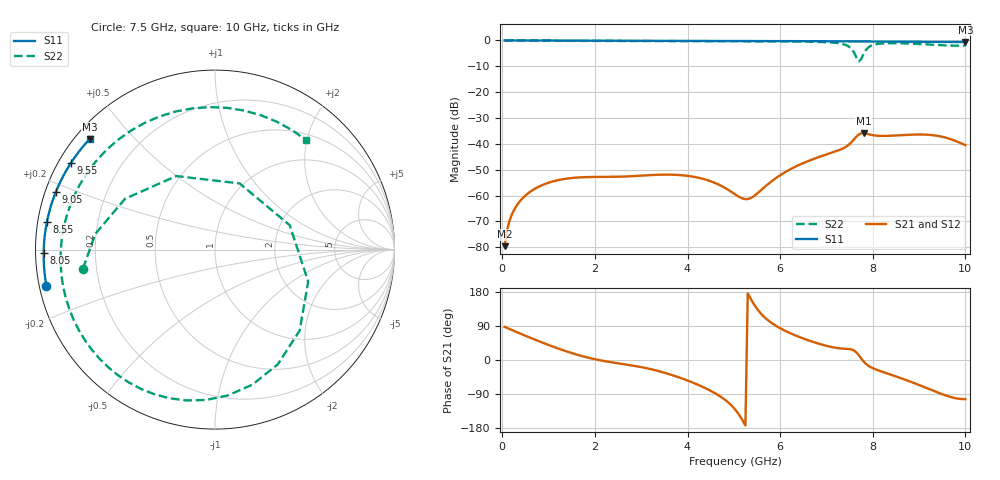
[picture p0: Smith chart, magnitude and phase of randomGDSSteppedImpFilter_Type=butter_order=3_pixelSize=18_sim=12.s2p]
! freq	dB(S11)	phase(S11)	dB(S12)	phase(S12)
!  dB(S21)	phase(S21)	dB(S22)	phase(S22)
!S-par simulation data
#  GHz  S  DB  R 50
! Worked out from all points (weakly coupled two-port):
!   200 points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, 50 MHz to 10 GHz, reference 50 ohm
!   highest |S21| = -35.86 dB at 7.8 GHz (marker M1); lowest = -79.6 dB at 50 MHz (marker M2)
!   lowest |S11| = -0.6 dB at 10 GHz (marker M3), VSWR 27.97, Z = 2.04 + j18.8 ohm
!   |S11| at or under -10 dB: nowhere
!   |S22| runs from -8.1 to 0.0 dB; largest |S21 - S12| = 0
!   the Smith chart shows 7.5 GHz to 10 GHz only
!   S11 on the Smith chart (normalised r, x): 7.5 GHz: 0.02, -0.11; 8.05 GHz: 0.02, -0.01; 8.55 GHz: 0.03, +0.08; 9.05 GHz: 0.03, +0.18; 9.55 GHz: 0.04, +0.28; 10 GHz: 0.04, +0.38
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0.05  -0.00 -1.3  -79.58 87.4  -79.58 87.4  -0.00 -4.0
0.2  -0.01 -5.2  -67.62 79.5  -67.62 79.5  -0.02 -15.9
0.5  -0.02 -13.0  -59.98 64.0  -59.98 64.0  -0.05 -39.6
1.1  -0.04 -28.5  -54.49 35.0  -54.49 35.0  -0.11 -86.8
1.75  -0.06 -44.8  -52.90 9.4  -52.90 9.4  -0.17 -137.7
2.5  -0.08 -62.9  -52.73 -8.7  -52.73 -8.7  -0.22 163.6
3.4  -0.11 -83.6  -51.94 -30.1  -51.94 -30.1  -0.25 95.6
4.25  -0.14 -102.2  -53.17 -66.7  -53.17 -66.7  -0.26 37.9
5.05  -0.18 -118.9  -59.79 -134.0  -59.79 -134.0  -0.28 -8.5
5.9  -0.23 -136.0  -53.35 90.9  -53.35 90.9  -0.34 -51.4
6.7  -0.28 -151.9  -45.99 48.1  -45.99 48.1  -0.51 -91.5
7.2  -0.32 -161.8  -42.92 32.2  -42.92 32.2  -0.94 -125.7
7.5  -0.35 -167.8  -40.05 28.7  -40.05 28.7  -2.57 -171.7
7.65  -0.36 -170.8  -37.15 19.6  -37.15 19.6  -6.69 117.8
7.8  -0.38 -173.8  -35.86 -3.6  -35.86 -3.6  -5.21 -19.0
7.9  -0.39 -175.9  -36.25 -14.7  -36.25 -14.7  -2.75 -61.3
8.05  -0.40 -178.9  -36.78 -24.2  -36.78 -24.2  -1.52 -93.4
8.35  -0.43 174.9  -36.88 -37.0  -36.88 -37.0  -1.07 -127.7
8.55  -0.45 170.7  -36.69 -45.4  -36.69 -45.4  -1.08 -145.1
9.05  -0.51 160.1  -36.39 -68.5  -36.39 -68.5  -1.41 170.4
9.55  -0.57 149.0  -37.47 -92.5  -37.47 -92.5  -1.90 112.6
10  -0.62 138.7  -40.49 -103.2  -40.49 -103.2  -2.01 50.5
